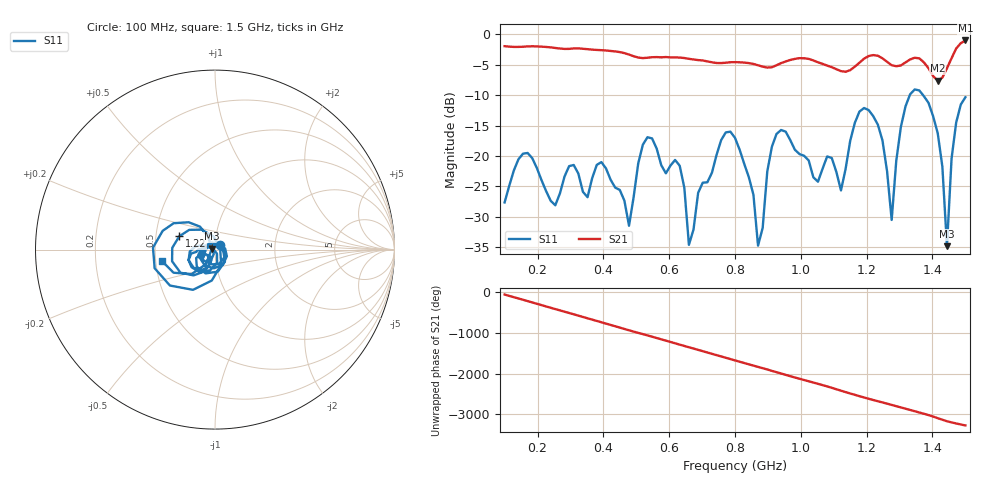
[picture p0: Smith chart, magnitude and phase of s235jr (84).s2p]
! NanoVNA-App
! Date: 2025-09-26 09:45:26
! Start: 100MHz Stop: 1,5GHz Points: 101
! S-Parameter data: F S11 S21 S12 S22
# Hz S RI R 50
!  Frequency  S11_Real  S11_Imag  S21_Real  S21_Imag  S12_Real  S12_Imag  S22_Real  S22_Imag
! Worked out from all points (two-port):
!   101 points, 100 MHz to 1.5 GHz, reference 50 ohm
!   highest |S21| = -1.01 dB at 1.5 GHz (marker M1); lowest = -7.6 dB at 1.416 GHz (marker M2)
!   |S21| within 3 dB of the highest: start of sweep to 657.9 MHz; 1.192 GHz to 1.25 GHz (57.34 MHz wide, 4.7 % of centre)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
!   lowest |S11| = -34.8 dB at 1.444 GHz (marker M3), VSWR 1.04, Z = 48.3 + j0.438 ohm
!   |S11| at or under -10 dB: start of sweep to 1.331 GHz; 1.371 GHz to end of sweep
!   S12 and S22 are empty: the file has one direction only
!   S11 on the Smith chart (normalised r, x): 100 MHz: 1.06, +0.06; 1.22 GHz: 0.66, +0.10; 1.5 GHz: 0.54, -0.07
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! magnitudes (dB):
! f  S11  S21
! 100 MHz  -27.6  -2.0
! 170 MHz  -19.5  -2.0
! 338 MHz  -25.9  -2.4
! 394 MHz  -21.0  -2.6
! 478 MHz  -31.5  -3.3
! 520 MHz  -18.2  -3.9
! 576 MHz  -21.5  -3.8
! 632 MHz  -21.6  -3.8
! 660 MHz  -34.6  -4.0
! 800 MHz  -17.0  -4.6
! 870 MHz  -34.7  -5.1
! 926 MHz  -16.4  -5.1
! 1.038 GHz  -23.5  -4.3
! 1.122 GHz  -25.7  -6.1
! 1.178 GHz  -12.7  -4.7
! 1.22 GHz  -13.5  -3.4
! 1.276 GHz  -30.5  -5.1
! 1.332 GHz  -9.9  -4.1
! 1.416 GHz  -16.3  -7.6
! 1.444 GHz  -34.8  -5.6
! 1.458 GHz  -20.4  -3.9
! 1.5 GHz  -10.4  -1.0
